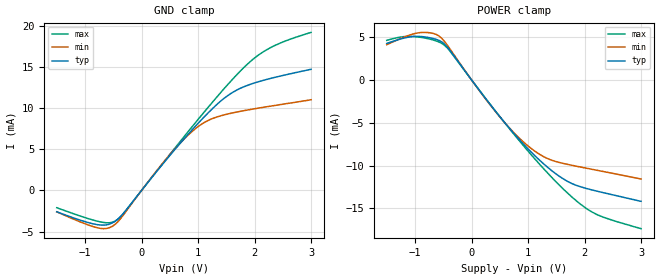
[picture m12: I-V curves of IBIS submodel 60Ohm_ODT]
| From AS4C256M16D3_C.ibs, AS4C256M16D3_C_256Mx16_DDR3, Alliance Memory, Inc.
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[Submodel]  60Ohm_ODT
Submodel_type   Dynamic_clamp
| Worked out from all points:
|   GND clamp passes 1 mA (typ) near -0.11 V on its own axis
|   POWER clamp passes 1 mA (typ) near -0.11 V on its own axis
[GND Clamp]
|   Voltage   I(typ)   I(min)   I(max)
-1.5V     -2.584mA   -2.589mA   -2.088mA
-725mV    -4.192mA   -4.599mA   -3.813mA
-575mV    -4.101mA   -4.535mA   -3.922mA
-425mV    -3.517mA   -3.843mA   -3.517mA
-275mV    -2.398mA   -2.551mA   -2.42mA
525mV     4.439mA    4.533mA    4.578mA
825mV     6.82mA     6.714mA    7.14mA
1.075V    8.683mA    8.102mA    9.233mA
1.575V    11.74mA    9.356mA    13.22mA
2.075V    13.21mA    10mA       16.46mA
2.475V    13.91mA    10.44mA    17.94mA
3V        14.7mA     11.01mA    19.18mA
[POWER Clamp]
|   Voltage   I(typ)   I(min)   I(max)
-1.5V     4.244mA    4.103mA    4.608mA
-1.175V   4.902mA    5.031mA    5.054mA
-875mV    5.045mA    5.529mA    4.935mA
-625mV    4.723mA    5.299mA    4.541mA
-475mV    4.163mA    4.461mA    4.019mA
475mV     -4.082mA   -4.116mA   -4.077mA
825mV     -6.814mA   -6.669mA   -6.941mA
1.125V    -8.882mA   -8.346mA   -9.261mA
1.625V    -11.56mA   -9.758mA   -12.75mA
2.075V    -12.75mA   -10.37mA   -15.2mA
2.375V    -13.23mA   -10.76mA   -16.13mA
3V        -14.18mA   -11.57mA   -17.37mA
